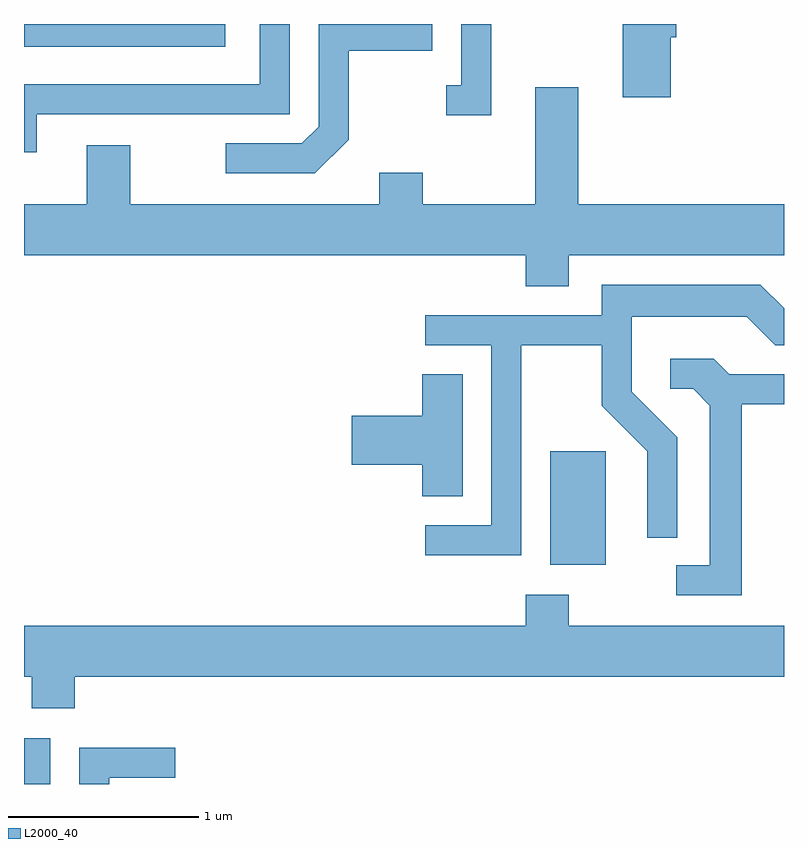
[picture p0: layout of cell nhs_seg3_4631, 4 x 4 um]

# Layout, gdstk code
import gdstk
lib = gdstk.Library(unit=1e-6, precision=1e-09)
def R(c, l, rs):  # rectangles x0, y0, x1, y1
    for r in rs: c.add(gdstk.rectangle(r[:2], r[2:], *l))
def P(c, l, *ps):  # polygons
    for p in ps: c.add(gdstk.Polygon(p, *l))
L2000_40 = (2000, 40)

nhs_seg3_4631 = lib.new_cell('nhs_seg3_4631')
R(nhs_seg3_4631, L2000_40, [(321.611,1129.892,321.749,1130.134), (324.381,1131.046,324.674,1131.644), (321.611,1133.771,322.669,1133.892)])
P(nhs_seg3_4631, L2000_40, [(321.679,1133.416),(323.009,1133.416),(323.009,1133.892),(322.851,1133.892),(322.851,1133.574),(321.611,1133.574),(321.611,1133.218),(321.679,1133.218)],
  [(323.319,1133.284),(323.319,1133.751),(323.759,1133.751),(323.759,1133.892),(323.161,1133.892),(323.161,1133.352),(323.074,1133.264),(322.673,1133.264),(322.673,1133.106),(323.142,1133.106)],
  [(325.014,1133.821),(325.044,1133.821),(325.044,1133.892),(324.761,1133.892),(324.761,1133.506),(325.014,1133.506)],
  [(324.069,1133.892),(323.911,1133.892),(323.911,1133.569),(323.833,1133.569),(323.833,1133.411),(324.069,1133.411)],
  [(324.479,1132.676),(325.611,1132.676),(325.611,1132.944),(324.529,1132.944),(324.529,1133.559),(324.301,1133.559),(324.301,1132.944),(323.709,1132.944),(323.709,1133.109),(323.481,1133.109),(323.481,1132.944),(322.169,1132.944),(322.169,1133.254),(321.941,1133.254),(321.941,1132.944),(321.611,1132.944),(321.611,1132.676),(324.251,1132.676),(324.251,1132.511),(324.479,1132.511)],
  [(324.229,1132.201),(324.651,1132.201),(324.651,1131.884),(324.891,1131.644),(324.891,1131.188),(325.049,1131.188),(325.049,1131.717),(324.809,1131.957),(324.809,1132.351),(325.414,1132.351),(325.564,1132.201),(325.611,1132.201),(325.611,1132.395),(325.487,1132.519),(324.651,1132.519),(324.651,1132.359),(323.723,1132.359),(323.723,1132.201),(324.071,1132.201),(324.071,1131.254),(323.723,1131.254),(323.723,1131.096),(324.229,1131.096)],
  [(325.389,1131.891),(325.611,1131.891),(325.611,1132.049),(325.322,1132.049),(325.242,1132.129),(325.013,1132.129),(325.013,1131.971),(325.134,1131.971),(325.221,1131.884),(325.221,1131.044),(325.043,1131.044),(325.043,1130.886),(325.389,1130.886)],
  [(323.919,1132.049),(323.706,1132.049),(323.706,1131.829),(323.336,1131.829),(323.336,1131.571),(323.706,1131.571),(323.706,1131.406),(323.919,1131.406)],
  [(321.879,1130.456),(325.611,1130.456),(325.611,1130.724),(324.479,1130.724),(324.479,1130.889),(324.251,1130.889),(324.251,1130.724),(321.611,1130.724),(321.611,1130.456),(321.651,1130.456),(321.651,1130.291),(321.879,1130.291)],
  [(322.059,1129.926),(322.408,1129.926),(322.408,1130.084),(321.901,1130.084),(321.901,1129.892),(322.059,1129.892)])

lib.write_gds('nhs_seg3_4631.gds')
